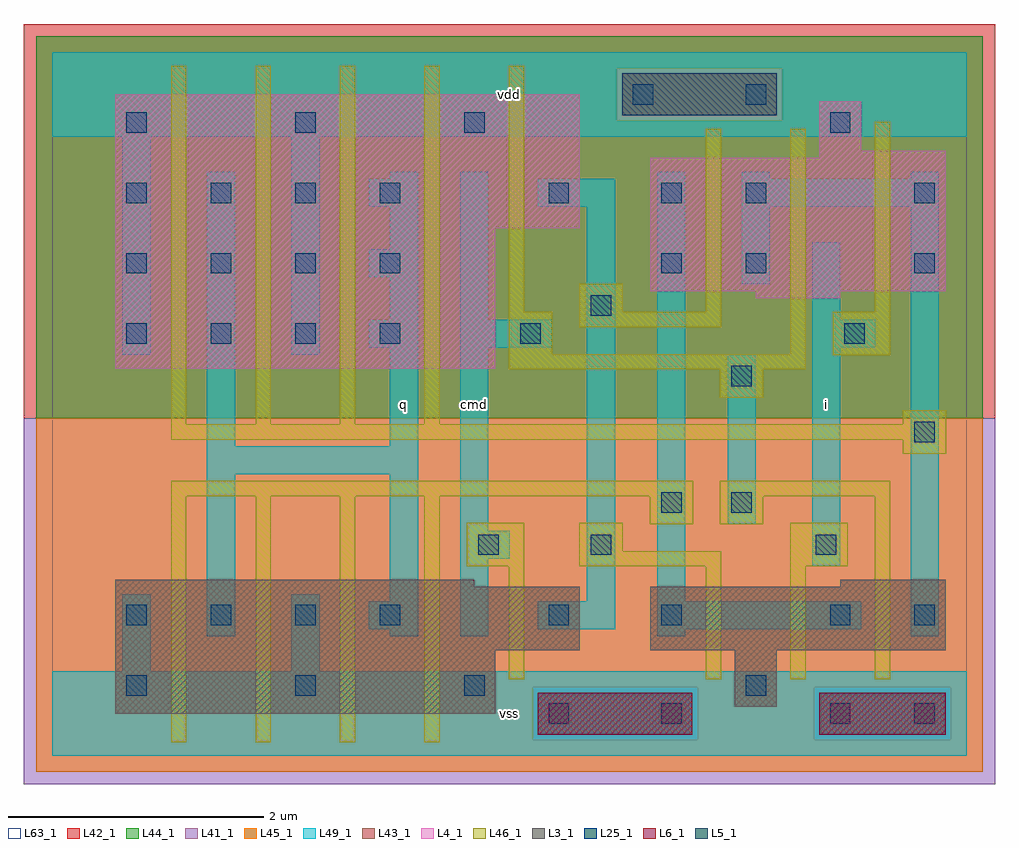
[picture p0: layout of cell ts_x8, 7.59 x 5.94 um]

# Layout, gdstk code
import gdstk
lib = gdstk.Library(unit=1e-6, precision=1e-09)
def R(c, l, rs):  # rectangles x0, y0, x1, y1
    for r in rs: c.add(gdstk.rectangle(r[:2], r[2:], *l))
def A(c, l, x, y, w, h, nx, ny, dx, dy):  # array of equal rectangles
    R(c, l, [(x+i*dx, y+j*dy, x+i*dx+w, y+j*dy+h) for i in range(nx) for j in range(ny)])
L3_1 = (3, 1)
L4_1 = (4, 1)
L5_1 = (5, 1)
L6_1 = (6, 1)
L25_1 = (25, 1)
L41_1 = (41, 1)
L42_1 = (42, 1)
L43_1 = (43, 1)
L44_1 = (44, 1)
L45_1 = (45, 1)
L46_1 = (46, 1)
L49_1 = (49, 1)
L63_1 = (63, 1)

ts_x8 = lib.new_cell('ts_x8')
R(ts_x8, L3_1, [(0.495,0.33,3.465,0.825), (5.335,0.385,5.665,0.825), (0.495,0.825,4.125,1.32), (4.675,0.825,6.985,1.32), (0.495,1.32,3.3,1.375), (6.16,1.32,6.985,1.375)])
R(ts_x8, L4_1, [(0.495,3.025,3.465,4.125), (5.5,3.575,6.16,3.63), (4.675,3.63,6.985,4.675), (0.495,4.125,4.125,5.17), (5.995,4.675,6.985,4.73), (5.995,4.73,6.325,5.115)])
R(ts_x8, L5_1, [(4.455,5.005,5.665,5.335)])
R(ts_x8, L6_1, [(3.795,0.165,5.005,0.495), (5.995,0.165,6.985,0.495)])
A(ts_x8, L25_1, 0.58, 0.47, 0.16, 0.16, 3, 2, 1.32, 4.4)
A(ts_x8, L25_1, 0.58, 1.02, 0.16, 0.16, 4, 2, 0.66, 2.2)
A(ts_x8, L25_1, 0.58, 3.77, 0.16, 0.16, 4, 2, 0.66, 0.55)
R(ts_x8, L25_1, [(3.88,0.25,4.04,0.41), (4.76,0.25,4.92,0.41), (6.08,0.25,6.24,0.41), (6.74,0.25,6.9,0.41), (5.42,0.47,5.58,0.63), (3.88,1.02,4.04,1.18), (4.76,1.02,4.92,1.18), (6.08,1.02,6.24,1.18), (6.74,1.02,6.9,1.18), (3.33,1.57,3.49,1.73), (4.21,1.57,4.37,1.73), (5.97,1.57,6.13,1.73), (4.76,1.9,4.92,2.06), (5.31,1.9,5.47,2.06), (6.74,2.45,6.9,2.61), (5.31,2.89,5.47,3.05), (3.66,3.22,3.82,3.38), (6.19,3.22,6.35,3.38), (4.21,3.44,4.37,3.6), (4.76,3.77,4.92,3.93), (5.42,3.77,5.58,3.93), (6.74,3.77,6.9,3.93), (3.88,4.32,4.04,4.48), (4.76,4.32,4.92,4.48), (5.42,4.32,5.58,4.48), (6.74,4.32,6.9,4.48), (6.08,4.87,6.24,5.03), (4.54,5.09,4.7,5.25), (5.42,5.09,5.58,5.25)])
R(ts_x8, L41_1, [(-0.22,-0.22,7.37,2.64)])
R(ts_x8, L42_1, [(-0.22,2.64,7.37,5.72)])
R(ts_x8, L43_1, [(3.795,0.165,5.005,0.495), (5.995,0.165,6.985,0.495), (0.495,0.33,3.465,0.825), (5.335,0.385,5.665,0.825), (0.495,0.825,4.125,1.32), (4.675,0.825,6.985,1.32), (0.495,1.32,3.3,1.375), (6.16,1.32,6.985,1.375), (0.495,3.025,3.465,4.125), (5.5,3.575,6.16,3.63), (4.675,3.63,6.985,4.675), (0.495,4.125,4.125,5.17), (5.995,4.675,6.985,4.73), (5.995,4.73,6.325,5.115), (4.455,5.005,5.665,5.335)])
R(ts_x8, L44_1, [(3.755,0.125,5.045,0.535), (5.955,0.125,7.025,0.535), (-0.125,2.64,7.275,4.965), (-0.125,4.965,4.415,5.375), (5.705,4.965,7.275,5.375), (-0.125,5.375,7.275,5.625)])
R(ts_x8, L45_1, [(-0.125,-0.125,7.275,0.125), (-0.125,0.125,3.755,0.535), (5.045,0.125,5.955,0.535), (7.025,0.125,7.275,0.535), (-0.125,0.535,7.275,2.64), (4.415,4.965,5.705,5.375)])
A(ts_x8, L46_1, 0.93, 0.105, 0.12, 1.925, 4, 1, 0.66, 0)
A(ts_x8, L46_1, 0.93, 2.59, 0.12, 2.805, 4, 1, 0.66, 0)
R(ts_x8, L46_1, [(3.57,0.6,3.69,1.48), (5.11,0.6,5.23,1.48), (5.77,0.6,5.89,1.48), (6.43,0.6,6.55,2.03), (3.24,1.48,3.69,1.82), (4.12,1.48,5.23,1.6), (5.77,1.48,6.22,1.82), (4.12,1.6,4.46,1.82), (4.67,1.81,5.01,2.03), (5.22,1.81,5.56,2.03), (0.93,2.03,5.01,2.15), (5.22,2.03,6.55,2.15), (6.65,2.36,6.99,2.47), (0.93,2.47,6.99,2.59), (6.65,2.59,6.99,2.7), (5.22,2.8,5.56,3.02), (3.57,3.02,5.89,3.14), (6.1,3.13,6.55,3.47), (3.57,3.14,3.91,3.47), (5.77,3.14,5.89,4.9), (4.12,3.35,5.23,3.47), (3.57,3.47,3.69,5.395), (4.12,3.47,4.46,3.69), (5.11,3.47,5.23,4.9), (6.43,3.47,6.55,4.955)])
A(ts_x8, L49_1, 2.475, 3.19, 0.385, 0.22, 1, 3, 0, 0.55)
R(ts_x8, L49_1, [(0,0,7.15,0.66), (0.55,0.66,0.77,1.265), (1.87,0.66,2.09,1.265), (1.21,0.935,1.43,2.2), (2.64,0.935,2.86,0.99), (3.19,0.935,3.41,1.54), (4.73,0.935,4.95,0.99), (6.71,0.935,6.93,4.29), (2.475,0.99,2.86,1.21), (3.795,0.99,4.4,1.21), (4.73,0.99,6.325,1.21), (2.64,1.21,2.86,2.2), (4.18,1.21,4.4,4.29), (4.73,1.21,4.95,4.565), (5.94,1.485,6.16,3.19), (3.19,1.54,3.575,1.76), (3.19,1.76,3.41,3.19), (5.28,1.815,5.5,3.135), (1.21,2.2,2.86,2.42), (1.21,2.42,1.43,4.565), (2.64,2.42,2.86,3.19), (0.55,3.135,0.77,4.84), (1.87,3.135,2.09,4.84), (3.19,3.19,3.905,3.41), (5.94,3.19,6.435,3.41), (2.64,3.41,2.86,3.74), (3.19,3.41,3.41,4.565), (5.94,3.41,6.16,4.015), (5.39,3.685,5.61,4.29), (2.64,3.96,2.86,4.29), (3.795,4.29,4.4,4.51), (5.39,4.29,6.93,4.51), (2.64,4.51,2.86,4.565), (5.39,4.51,5.61,4.565), (6.71,4.51,6.93,4.565), (0,4.84,7.15,5.5)])
R(ts_x8, L63_1, [(0,0,7.15,5.5)])
ts_x8.add(gdstk.Label('vss', (3.575,0.33), layer=49, texttype=1))
ts_x8.add(gdstk.Label('q', (2.75,2.75), layer=49, texttype=1))
ts_x8.add(gdstk.Label('cmd', (3.3,2.75), layer=49, texttype=1))
ts_x8.add(gdstk.Label('vdd', (3.575,5.17), layer=49, texttype=1))
ts_x8.add(gdstk.Label('i', (6.05,2.75), layer=49, texttype=1))

lib.write_gds('ts_x8.gds')
